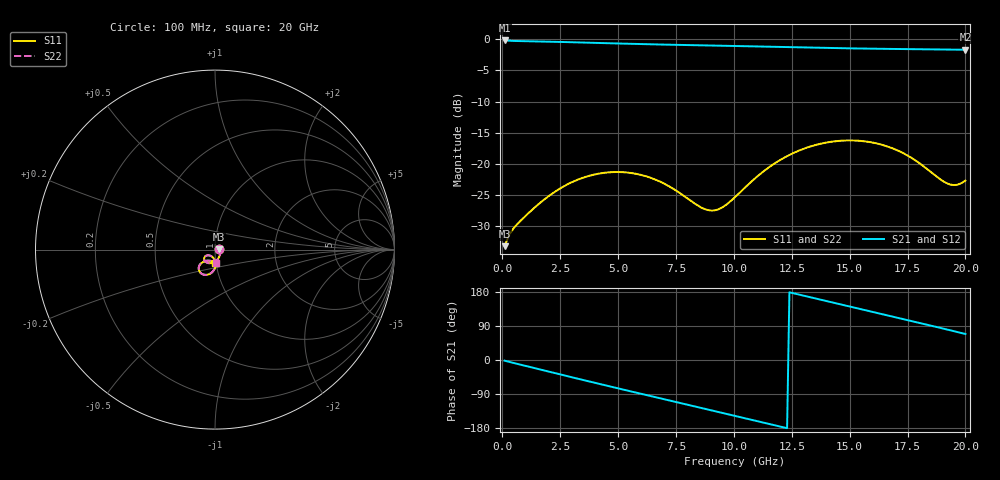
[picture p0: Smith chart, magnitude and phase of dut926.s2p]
! Touchstone file exported from HFSS 2026.1.0
!  File:  C:/ffzhzh/LocalFiles/Ansys_Project_Files/temp_train_TSV_RDL_926_1783279818_38820.aedt
!  Generated:  03:38:38 AM Jul  6, 2026
!  Design:  TSV_RDL
!  Project:  temp_train_TSV_RDL_926_1783279818_38820
! Variables:
!  h_bsmrdl = 3.79um
!  h_ox = 20um
!  h_rdl = 5um
!  h_sub = 61.13um
!  h_tmrdl = 5.24um
!  h_tsv = 61.13um
!  h_via = 3um
!  l_bsmrdl = 708.1um
!  l_sub = 4838.38um
!  l_tmrdl = 549.99um
!  m_sub = 200um
!  pitch = 22.86um
!  r_tsv = 5.42um
!  s_tmrdl = 10um
!  w_bsmrdl = 16.99um
!  w_sub = 500um
!  w_tmrdl = 21.05um
!  x_tsv_center1 = 560.515um
!  x_tsv_center2 = 1285.605um
!  x_tsv_center3 = 1856.645um
!  x_tsv_center4 = 2581.735um
!  x_tsv_center5 = 3152.775um
!  x_tsv_center6 = 3877.865um
# GHz S MA R 50.000000
! Terminal data exported
! Port[1] = TM_RDL1_1_T1
! Port[2] = TM_RDL5_1_T1
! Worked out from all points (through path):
!   200 points, 100 MHz to 20 GHz, reference 50 ohm
!   highest |S21| = -0.19 dB at 100 MHz (marker M1); lowest = -1.7 dB at 20 GHz (marker M2)
!   group delay of S21, straight-line fit = 40.1 ps
!   lowest |S11| = -33.2 dB at 100 MHz (marker M3), VSWR 1.04, Z = 52.2 + j0.111 ohm
!   |S11| at or under -10 dB: start of sweep to end of sweep
!   |S22| runs from -33.2 to -16.3 dB; largest |S21 - S12| = 1.5e-14
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0.1  0.02177 2.8  0.9783 -1.7  0.9783 -1.7  0.02177 2.8
! Gamma 0 0 0 0
! Port Impedance 50 0 50 0
0.5  0.03051 -15.4  0.9696 -8.0  0.9696 -8.0  0.03051 -15.4
1.5  0.04623 -59.0  0.961 -23.1  0.961 -23.1  0.04624 -59.0
2.5  0.06337 -85.1  0.952 -38.1  0.952 -38.1  0.06338 -85.1
3.5  0.07737 -104.2  0.9414 -52.9  0.9414 -52.9  0.07739 -104.2
4.3  0.08407 -116.9  0.9325 -64.7  0.9325 -64.7  0.08411 -116.9
5.1  0.08576 -127.9  0.9239 -76.3  0.9239 -76.3  0.08581 -127.8
5.9  0.08209 -137.0  0.9158 -87.9  0.9158 -87.9  0.08218 -136.9
6.8  0.07201 -144.1  0.9076 -100.8  0.9076 -100.8  0.07214 -144.0
7.8  0.05589 -144.4  0.8995 -115.2  0.8995 -115.2  0.05611 -144.3
8.9  0.04236 -124.7  0.8915 -131.0  0.8915 -131.0  0.0427 -124.7
9.4  0.04359 -109.4  0.8879 -138.2  0.8879 -138.2  0.04392 -109.6
10.1  0.05502 -93.7  0.8829 -148.3  0.8829 -148.3  0.05527 -94.0
11.7  0.09886 -89.5  0.8706 -171.3  0.8706 -171.3  0.09892 -89.9
12.5  0.1202 -94.7  0.8641 177.2  0.8641 177.2  0.1202 -95.1
13.4  0.1393 -102.4  0.8569 164.3  0.8569 164.3  0.1392 -102.8
15  0.1539 -117.6  0.8454 141.4  0.8454 141.4  0.1537 -117.9
16.7  0.1363 -131.6  0.8368 117.1  0.8368 117.1  0.1358 -132.0
18  0.1015 -134.8  0.8323 98.2  0.8323 98.2  0.1007 -135.3
19.2  0.06969 -115.8  0.8279 80.6  0.8279 80.6  0.06834 -116.1
19.6  0.06761 -102.0  0.826 74.6  0.826 74.6  0.06622 -101.9
20  0.07327 -88.2  0.8238 68.7  0.8238 68.7  0.07201 -87.7
